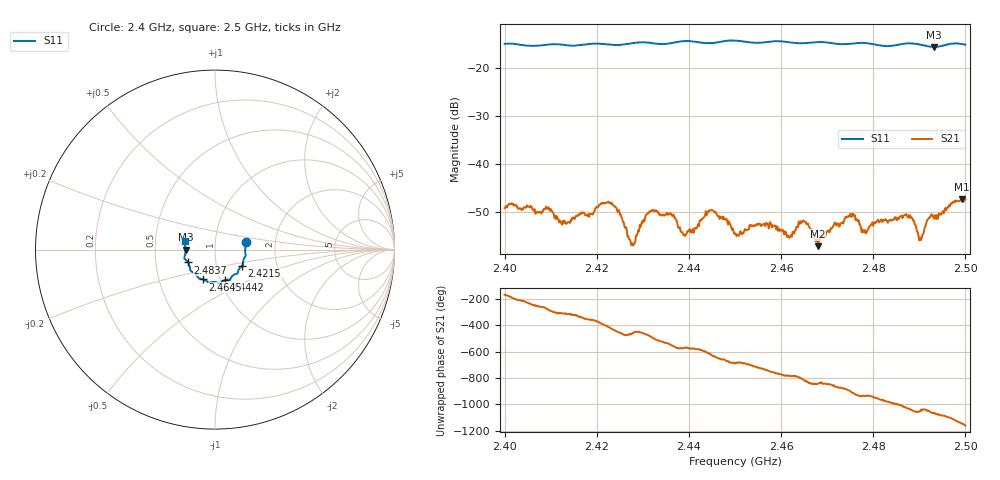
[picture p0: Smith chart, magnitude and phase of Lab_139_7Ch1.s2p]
# Hz S RI R 50
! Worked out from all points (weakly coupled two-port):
!   601 points, 2.4 GHz to 2.5 GHz, reference 50 ohm
!   highest |S21| = -47.24 dB at 2.4992 GHz (marker M1); lowest = -57.1 dB at 2.468 GHz (marker M2)
!   lowest |S11| = -15.7 dB at 2.4932 GHz (marker M3), VSWR 1.39, Z = 35.9 - j0.0481 ohm
!   |S11| at or under -10 dB: start of sweep to end of sweep
!   S12 and S22 are empty: the file has one direction only
!   S11 on the Smith chart (normalised r, x): 2.4 GHz: 1.41, +0.12; 2.4215 GHz: 1.33, -0.25; 2.4442 GHz: 1.05, -0.37; 2.4645 GHz: 0.83, -0.29; 2.4837 GHz: 0.73, -0.11; 2.5 GHz: 0.71, +0.07
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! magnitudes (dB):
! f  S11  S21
! 2.4 GHz  -15.1  -49.2
! 2.4167 GHz  -15.3  -50.4
! 2.4215 GHz  -15.1  -48.2
! 2.4243 GHz  -15.3  -49.3
! 2.4278 GHz  -14.9  -56.9
! 2.4333 GHz  -15.1  -50.0
! 2.439 GHz  -14.5  -54.6
! 2.4442 GHz  -15.0  -49.8
! 2.45 GHz  -14.4  -54.4
! 2.4618 GHz  -14.8  -55.3
! 2.4645 GHz  -15.0  -51.9
! 2.4667 GHz  -14.8  -54.1
! 2.468 GHz  -14.7  -57.1
! 2.4752 GHz  -15.1  -51.0
! 2.478 GHz  -14.9  -54.1
! 2.4833 GHz  -15.6  -51.8
! 2.4837 GHz  -15.5  -51.6
! 2.4875 GHz  -15.0  -51.1
! 2.4903 GHz  -15.3  -55.8
! 2.4932 GHz  -15.7  -51.4
! 2.4992 GHz  -15.1  -47.2
! 2.5 GHz  -15.3  -47.4
